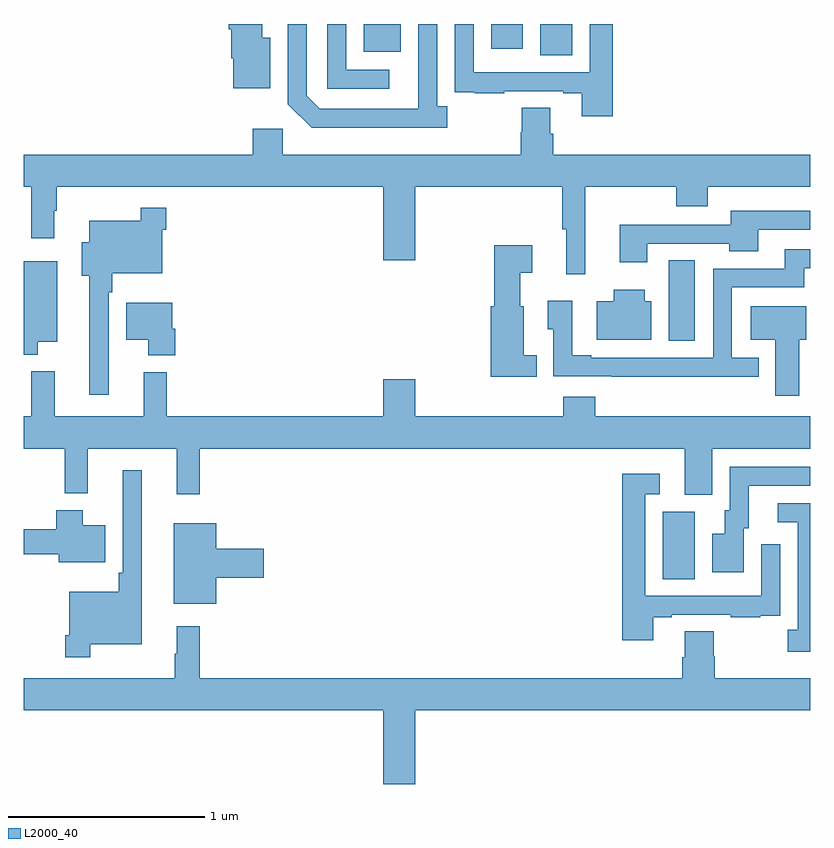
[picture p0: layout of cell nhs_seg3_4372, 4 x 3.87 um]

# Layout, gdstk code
import gdstk
lib = gdstk.Library(unit=1e-6, precision=1e-09)
def R(c, l, rs):  # rectangles x0, y0, x1, y1
    for r in rs: c.add(gdstk.rectangle(r[:2], r[2:], *l))
def P(c, l, *ps):  # polygons
    for p in ps: c.add(gdstk.Polygon(p, *l))
L2000_40 = (2000, 40)

nhs_seg3_4372 = lib.new_cell('nhs_seg3_4372')
R(nhs_seg3_4372, L2000_40, [(346.25,709.576,346.414,709.92), (346.28,710.788,346.414,711.197), (345.626,712.24,345.79,712.4), (344.729,712.259,344.917,712.4), (345.377,712.275,345.538,712.4)])
P(nhs_seg3_4372, L2000_40, [(345.154,711.982),(345.102,711.982),(345.102,712.4),(345.006,712.4),(345.006,711.969),(344.505,711.969),(344.439,712.035),(344.439,712.4),(344.343,712.4),(344.343,711.993),(344.464,711.872),(345.154,711.872)],
  [(345.995,712.4),(345.879,712.4),(345.879,712.155),(345.288,712.155),(345.288,712.4),(345.192,712.4),(345.192,712.162),(345.193,712.162),(345.193,712.053),(345.295,712.053),(345.295,712.047),(345.443,712.047),(345.443,712.059),(345.743,712.059),(345.743,712.047),(345.839,712.047),(345.839,711.93),(345.995,711.93)],
  [(344.86,712.167),(344.64,712.167),(344.64,712.4),(344.544,712.4),(344.544,712.071),(344.86,712.071)],
  [(344.254,712.33),(344.212,712.33),(344.212,712.4),(344.042,712.4),(344.042,712.374),(344.054,712.374),(344.054,712.226),(344.066,712.226),(344.066,712.073),(344.254,712.073)],
  [(345.856,711.572),(346.318,711.572),(346.318,711.473),(346.478,711.473),(346.478,711.572),(347,711.572),(347,711.736),(345.692,711.736),(345.692,711.842),(345.679,711.842),(345.679,711.974),(345.532,711.974),(345.532,711.849),(345.527,711.849),(345.527,711.736),(344.316,711.736),(344.316,711.868),(344.165,711.868),(344.165,711.736),(343,711.736),(343,711.572),(343.039,711.572),(343.039,711.309),(343.156,711.309),(343.156,711.449),(343.168,711.449),(343.168,711.572),(344.828,711.572),(344.828,711.198),(344.992,711.198),(344.992,711.572),(345.739,711.572),(345.739,711.357),(345.758,711.357),(345.758,711.126),(345.856,711.126)],
  [(343.431,711.035),(343.451,711.035),(343.451,711.131),(343.704,711.131),(343.704,711.353),(343.724,711.353),(343.724,711.466),(343.596,711.466),(343.596,711.4),(343.334,711.4),(343.334,711.289),(343.295,711.289),(343.295,711.119),(343.334,711.119),(343.334,710.514),(343.431,710.514)],
  [(346.171,711.282),(346.588,711.282),(346.588,711.245),(346.735,711.245),(346.735,711.354),(347,711.354),(347,711.45),(346.595,711.45),(346.595,711.378),(346.031,711.378),(346.031,711.189),(346.171,711.189)],
  [(345.608,710.716),(345.544,710.716),(345.544,710.964),(345.526,710.964),(345.526,711.134),(345.586,711.134),(345.586,711.274),(345.392,711.274),(345.392,710.964),(345.374,710.964),(345.374,710.606),(345.608,710.606)],
  [(346.738,710.703),(346.602,710.703),(346.602,711.06),(346.969,711.06),(346.969,711.158),(347,711.158),(347,711.255),(346.871,711.255),(346.871,711.156),(346.506,711.156),(346.506,710.703),(345.886,710.703),(345.886,710.716),(345.789,710.716),(345.789,710.992),(345.665,710.992),(345.665,710.847),(345.693,710.847),(345.693,710.607),(345.991,710.607),(345.991,710.606),(346.738,710.606)],
  [(343.072,710.783),(343.171,710.783),(343.171,711.193),(343,711.193),(343,710.718),(343.072,710.718)],
  [(346.192,710.989),(346.159,710.989),(346.159,711.049),(346.001,711.049),(346.001,710.989),(345.914,710.989),(345.914,710.795),(346.192,710.795)],
  [(343.769,710.85),(343.756,710.85),(343.756,710.983),(343.52,710.983),(343.52,710.795),(343.634,710.795),(343.634,710.714),(343.769,710.714)],
  [(346.945,710.795),(346.981,710.795),(346.981,710.965),(346.697,710.965),(346.697,710.795),(346.823,710.795),(346.823,710.508),(346.945,710.508)],
  [(343.727,710.629),(343.61,710.629),(343.61,710.404),(343.157,710.404),(343.157,710.633),(343.039,710.633),(343.039,710.404),(343,710.404),(343,710.24),(343.207,710.24),(343.207,710.012),(343.325,710.012),(343.325,710.24),(343.778,710.24),(343.778,710.007),(343.895,710.007),(343.895,710.24),(346.361,710.24),(346.361,710.005),(346.501,710.005),(346.501,710.24),(347,710.24),(347,710.404),(345.908,710.404),(345.908,710.503),(345.743,710.503),(345.743,710.404),(344.992,710.404),(344.992,710.593),(344.828,710.593),(344.828,710.404),(343.727,710.404)],
  [(346.663,709.836),(346.687,709.836),(346.687,710.052),(347,710.052),(347,710.148),(346.59,710.148),(346.59,709.926),(346.565,709.926),(346.565,709.807),(346.502,709.807),(346.502,709.611),(346.663,709.611)],
  [(343.339,709.244),(343.6,709.244),(343.6,710.131),(343.503,710.131),(343.503,709.609),(343.483,709.609),(343.483,709.513),(343.23,709.513),(343.23,709.291),(343.21,709.291),(343.21,709.179),(343.339,709.179)],
  [(346.201,709.383),(346.297,709.383),(346.297,709.395),(346.597,709.395),(346.597,709.383),(346.745,709.383),(346.745,709.389),(346.847,709.389),(346.847,709.498),(346.848,709.498),(346.848,709.753),(346.752,709.753),(346.752,709.491),(346.161,709.491),(346.161,710.007),(346.234,710.007),(346.234,710.113),(346.045,710.113),(346.045,709.266),(346.201,709.266)],
  [(347,709.962),(346.836,709.962),(346.836,709.866),(346.938,709.866),(346.938,709.318),(346.887,709.318),(346.887,709.208),(347,709.208)],
  [(343.414,709.849),(343.3,709.849),(343.3,709.927),(343.166,709.927),(343.166,709.831),(343,709.831),(343,709.702),(343.178,709.702),(343.178,709.661),(343.414,709.661)],
  [(343.978,709.583),(344.221,709.583),(344.221,709.73),(343.978,709.73),(343.978,709.861),(343.763,709.861),(343.763,709.451),(343.978,709.451)],
  [(344.992,708.908),(347,708.908),(347,709.072),(346.514,709.072),(346.514,709.185),(346.509,709.185),(346.509,709.31),(346.361,709.31),(346.361,709.178),(346.349,709.178),(346.349,709.072),(343.895,709.072),(343.895,709.336),(343.778,709.336),(343.778,709.196),(343.767,709.196),(343.767,709.072),(343,709.072),(343,708.908),(344.828,708.908),(344.828,708.534),(344.992,708.534)])

lib.write_gds('nhs_seg3_4372.gds')
